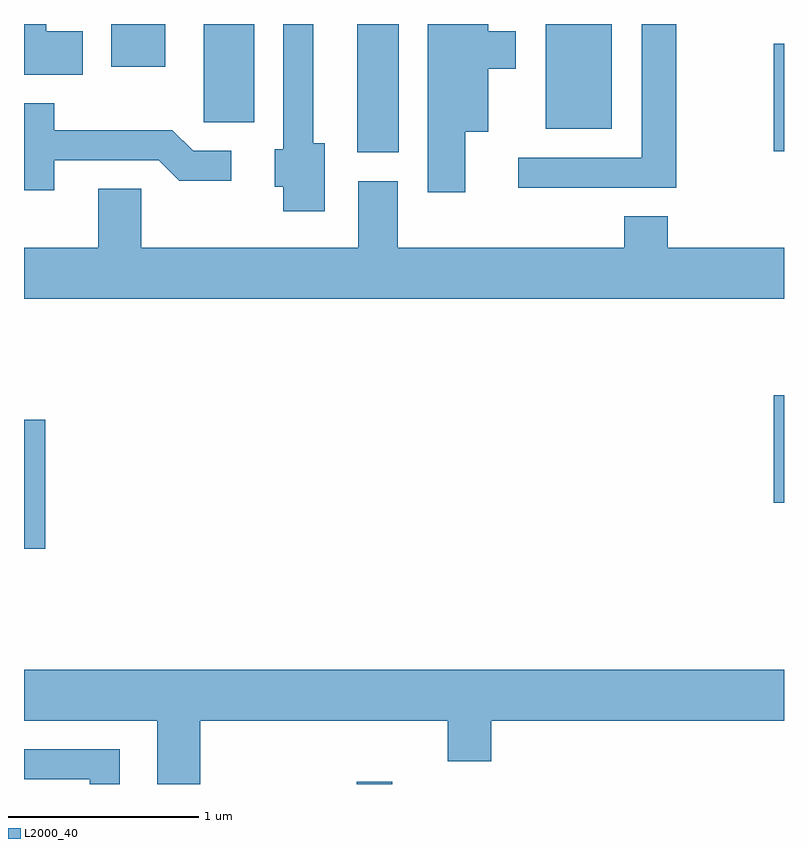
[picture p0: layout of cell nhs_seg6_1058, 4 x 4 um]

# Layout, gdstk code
import gdstk
lib = gdstk.Library(unit=1e-6, precision=1e-09)
def R(c, l, rs):  # rectangles x0, y0, x1, y1
    for r in rs: c.add(gdstk.rectangle(r[:2], r[2:], *l))
def P(c, l, *ps):  # polygons
    for p in ps: c.add(gdstk.Polygon(p, *l))
L2000_40 = (2000, 40)

nhs_seg6_1058 = lib.new_cell('nhs_seg6_1058')
R(nhs_seg6_1058, L2000_40, [(219.361,1534.162,219.549,1534.174), (217.611,1535.401,217.724,1536.079), (221.556,1535.641,221.611,1536.209), (219.366,1537.486,219.584,1538.162), (221.556,1537.491,221.611,1538.059), (220.356,1537.611,220.704,1538.162), (218.556,1537.646,218.824,1538.162), (218.071,1537.936,218.354,1538.162)])
P(nhs_seg6_1058, L2000_40, [(221.044,1538.162),(220.861,1538.162),(220.861,1537.459),(220.213,1537.459),(220.213,1537.301),(221.044,1537.301)],
  [(219.194,1537.534),(219.134,1537.534),(219.134,1538.162),(218.976,1538.162),(218.976,1537.504),(218.931,1537.504),(218.931,1537.306),(218.976,1537.306),(218.976,1537.176),(219.194,1537.176)],
  [(219.934,1537.596),(220.054,1537.596),(220.054,1537.926),(220.199,1537.926),(220.199,1538.124),(220.054,1538.124),(220.054,1538.162),(219.736,1538.162),(219.736,1537.276),(219.934,1537.276)],
  [(217.919,1538.124),(217.729,1538.124),(217.729,1538.162),(217.611,1538.162),(217.611,1537.896),(217.919,1537.896)],
  [(217.769,1537.446),(218.319,1537.446),(218.429,1537.336),(218.703,1537.336),(218.703,1537.494),(218.502,1537.494),(218.392,1537.604),(217.769,1537.604),(217.769,1537.744),(217.611,1537.744),(217.611,1537.286),(217.769,1537.286)],
  [(221.611,1536.984),(220.999,1536.984),(220.999,1537.149),(220.771,1537.149),(220.771,1536.984),(219.579,1536.984),(219.579,1537.334),(219.371,1537.334),(219.371,1536.984),(218.229,1536.984),(218.229,1537.294),(218.001,1537.294),(218.001,1536.984),(217.611,1536.984),(217.611,1536.716),(221.611,1536.716)],
  [(218.539,1534.496),(219.841,1534.496),(219.841,1534.281),(220.069,1534.281),(220.069,1534.496),(221.611,1534.496),(221.611,1534.764),(217.611,1534.764),(217.611,1534.496),(218.311,1534.496),(218.311,1534.162),(218.539,1534.162)],
  [(218.114,1534.344),(217.611,1534.344),(217.611,1534.186),(217.956,1534.186),(217.956,1534.162),(218.114,1534.162)])

lib.write_gds('nhs_seg6_1058.gds')
